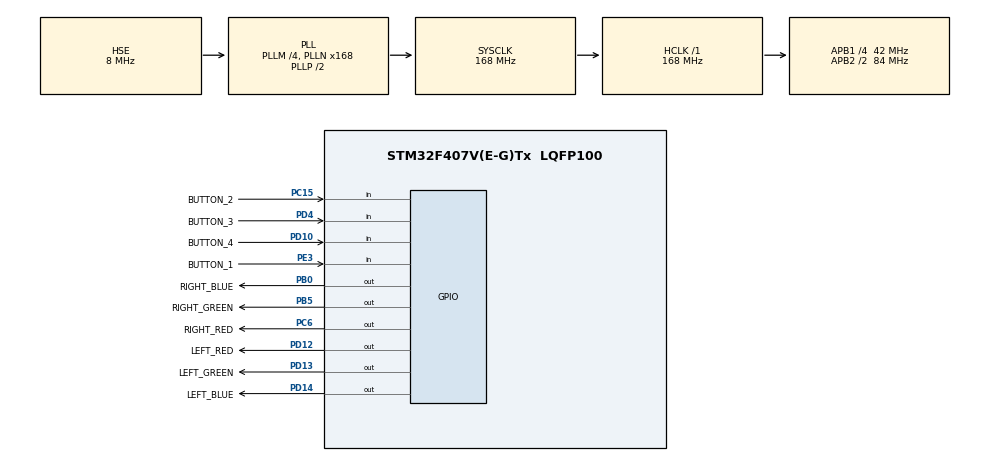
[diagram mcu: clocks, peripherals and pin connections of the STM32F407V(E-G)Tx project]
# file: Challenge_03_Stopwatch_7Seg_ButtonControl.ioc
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Mcu.Family=STM32F4
Mcu.Name=STM32F407V(E-G)Tx
Mcu.Package=LQFP100
NVIC.PriorityGroup=NVIC_PRIORITYGROUP_4
NVIC.TIM6_DAC_IRQn=true\:0\:0\:false\:true\:true\:1\:true\:true\:true
PB0.GPIO_Label=RIGHT_BLUE
PB0.GPIO_ModeDefaultOutputPP=GPIO_MODE_OUTPUT_PP
PB0.GPIO_PuPd=GPIO_NOPULL
PB0.GPIO_Speed=GPIO_SPEED_FREQ_LOW
PB0.PinState=GPIO_PIN_SET
PB0.Signal=GPIO_Output
PB5.GPIO_Label=RIGHT_GREEN
PB5.GPIO_ModeDefaultOutputPP=GPIO_MODE_OUTPUT_PP
PB5.GPIO_PuPd=GPIO_NOPULL
PB5.GPIO_Speed=GPIO_SPEED_FREQ_LOW
PB5.PinState=GPIO_PIN_SET
PB5.Signal=GPIO_Output
PC15-OSC32_OUT.GPIO_Label=BUTTON_2
PC15-OSC32_OUT.Signal=GPIO_Input
PC6.GPIO_Label=RIGHT_RED
PC6.GPIO_ModeDefaultOutputPP=GPIO_MODE_OUTPUT_PP
PC6.GPIO_PuPd=GPIO_NOPULL
PC6.GPIO_Speed=GPIO_SPEED_FREQ_LOW
PC6.PinState=GPIO_PIN_SET
PC6.Signal=GPIO_Output
PD10.GPIO_Label=BUTTON_4
PD10.Signal=GPIO_Input
PD12.GPIO_Label=LEFT_RED
PD12.GPIO_ModeDefaultOutputPP=GPIO_MODE_OUTPUT_PP
PD12.GPIO_PuPd=GPIO_NOPULL
PD12.GPIO_Speed=GPIO_SPEED_FREQ_LOW
PD12.PinState=GPIO_PIN_SET
PD12.Signal=GPIO_Output
PD13.GPIO_Label=LEFT_GREEN
PD13.GPIO_ModeDefaultOutputPP=GPIO_MODE_OUTPUT_PP
PD13.GPIO_PuPd=GPIO_NOPULL
PD13.GPIO_Speed=GPIO_SPEED_FREQ_LOW
PD13.PinState=GPIO_PIN_SET
PD13.Signal=GPIO_Output
PD14.GPIO_Label=LEFT_BLUE
PD14.GPIO_ModeDefaultOutputPP=GPIO_MODE_OUTPUT_PP
PD14.GPIO_PuPd=GPIO_NOPULL
PD14.GPIO_Speed=GPIO_SPEED_FREQ_LOW
PD14.PinState=GPIO_PIN_SET
PD14.Signal=GPIO_Output
PD4.GPIO_Label=BUTTON_3
PD4.Signal=GPIO_Input
PE3.GPIO_Label=BUTTON_1
PE3.Signal=GPIO_Input
PH0-OSC_IN.Mode=HSE-External-Oscillator
PH0-OSC_IN.Signal=RCC_OSC_IN
PH1-OSC_OUT.Mode=HSE-External-Oscillator
PH1-OSC_OUT.Signal=RCC_OSC_OUT
ProjectManager.HeapSize=0x200
ProjectManager.StackSize=0x400
ProjectManager.TargetToolchain=STM32CubeIDE
RCC.48MHZClocksFreq_Value=84000000
RCC.AHBFreq_Value=168000000
RCC.APB1CLKDivider=RCC_HCLK_DIV4
RCC.APB1Freq_Value=42000000
RCC.APB1TimFreq_Value=84000000
RCC.APB2CLKDivider=RCC_HCLK_DIV2
RCC.APB2Freq_Value=84000000
RCC.APB2TimFreq_Value=168000000
RCC.CortexFreq_Value=168000000
RCC.HCLKFreq_Value=168000000
RCC.HSE_VALUE=8000000
RCC.HSI_VALUE=16000000
RCC.LSE_VALUE=32768
RCC.PLLM=4
RCC.PLLN=168
RCC.PLLSourceVirtual=RCC_PLLSOURCE_HSE
RCC.SYSCLKFreq_VALUE=168000000
RCC.SYSCLKSource=RCC_SYSCLKSOURCE_PLLCLK
RCC.VCOOutputFreq_Value=336000000
TIM6.Period=8400 - 1
TIM6.Prescaler=10 - 1
VP_TIM6_VS_ClockSourceINT.Mode=Enable_Timer
board=custom

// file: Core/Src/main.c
/* USER CODE BEGIN Header */
/**
  ******************************************************************************
  * @file           : main.c
  * @brief          : Main program body
  ******************************************************************************
  * @attention
  *
  * Copyright (c) 2025 STMicroelectronics.
  * All rights reserved.
  *
  * This software is licensed under terms that can be found in the LICENSE file
  * in the root directory of this software component.
  * If no LICENSE file comes with this software, it is provided AS-IS.
  *
  ******************************************************************************
  */
/* USER CODE END Header */
#include "main.h"

/* USER CODE BEGIN Includes */
#include "led.h"
#include "button.h"
#include "clock.h"
#include "segment.h"
#include "timer.h"
/* USER CODE END Includes */

TIM_HandleTypeDef htim6;

void SystemClock_Config(void);
static void MX_GPIO_Init(void);
static void MX_TIM6_Init(void);
static void MX_NVIC_Init(void);

int main(void)
{

  /* MCU Configuration--------------------------------------------------------*/

  /* Reset of all peripherals, Initializes the Flash interface and the Systick. */
  HAL_Init();

  /* Configure the system clock */
  SystemClock_Config();

  /* Initialize all configured peripherals */
  MX_GPIO_Init();
  MX_TIM6_Init();

  /* Initialize interrupts */
  MX_NVIC_Init();
  /* USER CODE BEGIN 2 */
  HAL_TIM_Base_Start_IT(&htim6);
  _7SEG_GPIO_Init();
  /* USER CODE END 2 */

  /* Infinite loop */
  /* USER CODE BEGIN WHILE */
  while (1)
  {
	  update_button(BUTTON_1);
	  update_button(BUTTON_2);
	  update_button(BUTTON_3);
	  update_button(BUTTON_4);

	  operate_left_led(BUTTON_1, LEFT_RED);
	  operate_left_led(BUTTON_2, LEFT_GREEN);
	  operate_left_led(BUTTON_3, LEFT_BLUE);
	  operate_right_led(BUTTON_4, RIGHT_RED);
	  operate_clock();

	  update_last_button(BUTTON_1);
	  update_last_button(BUTTON_2);
	  update_last_button(BUTTON_3);
	  update_last_button(BUTTON_4);

    /* USER CODE END WHILE */

  }
}

void SystemClock_Config(void)
{
  RCC_OscInitTypeDef RCC_OscInitStruct = {0};
  RCC_ClkInitTypeDef RCC_ClkInitStruct = {0};

  /** Configure the main internal regulator output voltage
  */
  __HAL_RCC_PWR_CLK_ENABLE();
  __HAL_PWR_VOLTAGESCALING_CONFIG(PWR_REGULATOR_VOLTAGE_SCALE1);

  /** Initializes the RCC Oscillators according to the specified parameters
  * in the RCC_OscInitTypeDef structure.
  */
  RCC_OscInitStruct.OscillatorType = RCC_OSCILLATORTYPE_HSE;
  RCC_OscInitStruct.HSEState = RCC_HSE_ON;
  RCC_OscInitStruct.PLL.PLLState = RCC_PLL_ON;
  RCC_OscInitStruct.PLL.PLLSource = RCC_PLLSOURCE_HSE;
  RCC_OscInitStruct.PLL.PLLM = 4;
  RCC_OscInitStruct.PLL.PLLN = 168;
  RCC_OscInitStruct.PLL.PLLP = RCC_PLLP_DIV2;
  RCC_OscInitStruct.PLL.PLLQ = 4;
  if (HAL_RCC_OscConfig(&RCC_OscInitStruct) != HAL_OK)
  {
    Error_Handler();
  }

  /** Initializes the CPU, AHB and APB buses clocks
  */
  RCC_ClkInitStruct.ClockType = RCC_CLOCKTYPE_HCLK|RCC_CLOCKTYPE_SYSCLK
                              |RCC_CLOCKTYPE_PCLK1|RCC_CLOCKTYPE_PCLK2;
  RCC_ClkInitStruct.SYSCLKSource = RCC_SYSCLKSOURCE_PLLCLK;
  RCC_ClkInitStruct.AHBCLKDivider = RCC_SYSCLK_DIV1;
  RCC_ClkInitStruct.APB1CLKDivider = RCC_HCLK_DIV4;
  RCC_ClkInitStruct.APB2CLKDivider = RCC_HCLK_DIV2;

  if (HAL_RCC_ClockConfig(&RCC_ClkInitStruct, FLASH_LATENCY_5) != HAL_OK)
  {
    Error_Handler();
  }
}

/**
  * @brief NVIC Configuration.
  * @retval None
  */
static void MX_NVIC_Init(void)
{
  /* TIM6_DAC_IRQn interrupt configuration */
  HAL_NVIC_SetPriority(TIM6_DAC_IRQn, 0, 0);
  HAL_NVIC_EnableIRQ(TIM6_DAC_IRQn);
}

static void MX_TIM6_Init(void)
{

  TIM_MasterConfigTypeDef sMasterConfig = {0};

  htim6.Instance = TIM6;
  htim6.Init.Prescaler = 10 - 1;
  htim6.Init.CounterMode = TIM_COUNTERMODE_UP;
  htim6.Init.Period = 8400 - 1;
  htim6.Init.AutoReloadPreload = TIM_AUTORELOAD_PRELOAD_DISABLE;
  if (HAL_TIM_Base_Init(&htim6) != HAL_OK)
  {
    Error_Handler();
  }
  sMasterConfig.MasterOutputTrigger = TIM_TRGO_RESET;
  sMasterConfig.MasterSlaveMode = TIM_MASTERSLAVEMODE_DISABLE;
  if (HAL_TIMEx_MasterConfigSynchronization(&htim6, &sMasterConfig) != HAL_OK)
  {
    Error_Handler();
  }

}

static void MX_GPIO_Init(void)
{
  GPIO_InitTypeDef GPIO_InitStruct = {0};

  /* GPIO Ports Clock Enable */
  __HAL_RCC_GPIOE_CLK_ENABLE();
  __HAL_RCC_GPIOC_CLK_ENABLE();
  __HAL_RCC_GPIOH_CLK_ENABLE();
  __HAL_RCC_GPIOB_CLK_ENABLE();
  __HAL_RCC_GPIOD_CLK_ENABLE();

  /*Configure GPIO pin Output Level */
  HAL_GPIO_WritePin(GPIOB, RIGHT_BLUE_Pin|RIGHT_GREEN_Pin, GPIO_PIN_SET);

  /*Configure GPIO pin Output Level */
  HAL_GPIO_WritePin(GPIOD, LEFT_RED_Pin|LEFT_GREEN_Pin|LEFT_BLUE_Pin, GPIO_PIN_SET);

  /*Configure GPIO pin Output Level */
  HAL_GPIO_WritePin(RIGHT_RED_GPIO_Port, RIGHT_RED_Pin, GPIO_PIN_SET);

  /*Configure GPIO pin : BUTTON_1_Pin */
  GPIO_InitStruct.Pin = BUTTON_1_Pin;
  GPIO_InitStruct.Mode = GPIO_MODE_INPUT;
  GPIO_InitStruct.Pull = GPIO_NOPULL;
  HAL_GPIO_Init(BUTTON_1_GPIO_Port, &GPIO_InitStruct);

  /*Configure GPIO pin : BUTTON_2_Pin */
  GPIO_InitStruct.Pin = BUTTON_2_Pin;
  GPIO_InitStruct.Mode = GPIO_MODE_INPUT;
  GPIO_InitStruct.Pull = GPIO_NOPULL;
  HAL_GPIO_Init(BUTTON_2_GPIO_Port, &GPIO_InitStruct);

  /*Configure GPIO pins : RIGHT_BLUE_Pin RIGHT_GREEN_Pin */
  GPIO_InitStruct.Pin = RIGHT_BLUE_Pin|RIGHT_GREEN_Pin;
  GPIO_InitStruct.Mode = GPIO_MODE_OUTPUT_PP;
  GPIO_InitStruct.Pull = GPIO_NOPULL;
  GPIO_InitStruct.Speed = GPIO_SPEED_FREQ_LOW;
  HAL_GPIO_Init(GPIOB, &GPIO_InitStruct);

  /*Configure GPIO pins : BUTTON_4_Pin BUTTON_3_Pin */
  GPIO_InitStruct.Pin = BUTTON_4_Pin|BUTTON_3_Pin;
  GPIO_InitStruct.Mode = GPIO_MODE_INPUT;
  GPIO_InitStruct.Pull = GPIO_NOPULL;
  HAL_GPIO_Init(GPIOD, &GPIO_InitStruct);

  /*Configure GPIO pins : LEFT_RED_Pin LEFT_GREEN_Pin LEFT_BLUE_Pin */
  GPIO_InitStruct.Pin = LEFT_RED_Pin|LEFT_GREEN_Pin|LEFT_BLUE_Pin;
  GPIO_InitStruct.Mode = GPIO_MODE_OUTPUT_PP;
  GPIO_InitStruct.Pull = GPIO_NOPULL;
  GPIO_InitStruct.Speed = GPIO_SPEED_FREQ_LOW;
  HAL_GPIO_Init(GPIOD, &GPIO_InitStruct);

  /*Configure GPIO pin : RIGHT_RED_Pin */
  GPIO_InitStruct.Pin = RIGHT_RED_Pin;
  GPIO_InitStruct.Mode = GPIO_MODE_OUTPUT_PP;
  GPIO_InitStruct.Pull = GPIO_NOPULL;
  GPIO_InitStruct.Speed = GPIO_SPEED_FREQ_LOW;
  HAL_GPIO_Init(RIGHT_RED_GPIO_Port, &GPIO_InitStruct);

}

/* USER CODE BEGIN 4 */
void HAL_TIM_PeriodElapsedCallback(TIM_HandleTypeDef* htim)
{
	if (htim->Instance == TIM6)
	{
		if (is_running()) count_up();
	}
}

//void HAL_GPIO_EXTI_Callback(uint16_t GPIO_Pin)
//{
////	if (GPIO_Pin == BUTTON_1_Pin)
////	{
////		HAL_GPIO_TogglePin(LEFT_RED_GPIO_Port, LEFT_RED_Pin);
////		return;
////	}
////
////	if (GPIO_Pin == BUTTON_2_Pin)
////	{
////		HAL_GPIO_TogglePin(LEFT_GREEN_GPIO_Port, LEFT_GREEN_Pin);
////		return;
////	}
////
////	if (GPIO_Pin == BUTTON_3_Pin)
////	{
////		HAL_GPIO_TogglePin(LEFT_BLUE_GPIO_Port, LEFT_BLUE_Pin);
////		return;
////	}
////
////	if (GPIO_Pin == BUTTON_4_Pin)
////	{
////		HAL_GPIO_TogglePin(RIGHT_RED_GPIO_Port, RIGHT_RED_Pin);
////	}
//
//	if (GPIO_Pin == GPIO_PIN_3)
//	{
//	    HAL_GPIO_TogglePin(GPIOD, GPIO_PIN_12);
//	}
//
//	if (GPIO_Pin == GPIO_PIN_15)
//	{
//	    HAL_GPIO_TogglePin(GPIOD, GPIO_PIN_13);
//	}
//
//	if (GPIO_Pin == GPIO_PIN_4)
//	{
//	    HAL_GPIO_TogglePin(GPIOD, GPIO_PIN_14);
//	}
//
//	if (GPIO_Pin == GPIO_PIN_10)
//	{
//	    HAL_GPIO_TogglePin(GPIOB, GPIO_PIN_0);
//	}
//
//}
/* USER CODE END 4 */

void Error_Handler(void)
{
  __disable_irq();
  while (1)
  {
  }
}
